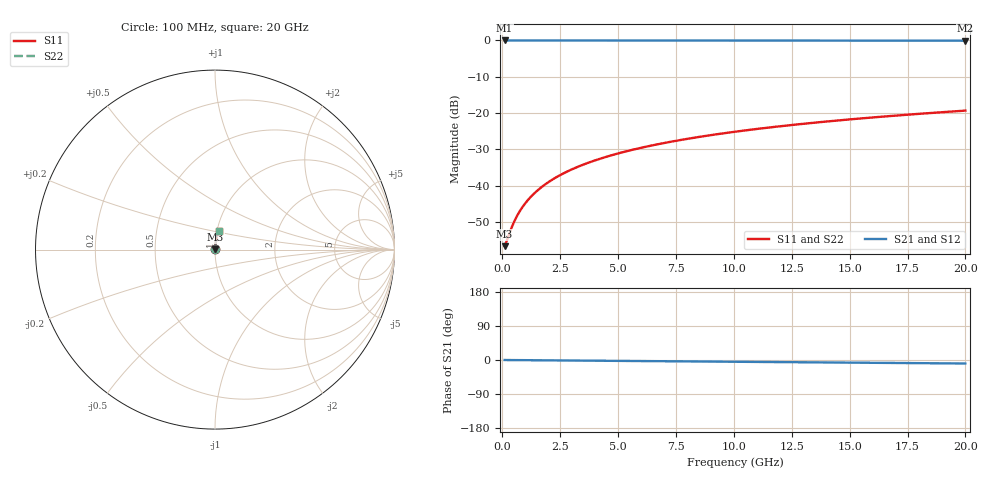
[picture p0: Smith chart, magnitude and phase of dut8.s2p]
! Touchstone file exported from HFSS 2026.1.0
!  File:  C:/ffzhzh/LocalFiles/Ansys_Project_Files/temp_val_TSV_8_1782974866_15332.aedt
!  Generated:  02:50:01 PM Jul  2, 2026
!  Design:  TSV
!  Project:  temp_val_TSV_8_1782974866_15332
! Variables:
!  h_bsmrdl = 2um
!  h_ox = 20um
!  h_rdl = 5um
!  h_sub = 64.76um
!  h_tmrdl = 5um
!  h_tsv = 64.76um
!  h_via = 3um
!  l_bsmrdl = 300um
!  l_sub = 404.72um
!  l_tmrdl = 200um
!  m_sub = 200um
!  pitch = 39.39um
!  r_tsv = 2.36um
!  s_tmrdl = 10um
!  w_bsmrdl = 18um
!  w_sub = 500um
!  w_tmrdl = 12um
!  x_tsv_center1 = 206um
!  x_tsv_center2 = 524um
!  x_tsv_center3 = 736um
!  x_tsv_center4 = 1054um
!  x_tsv_center5 = 1266um
!  x_tsv_center6 = 1584um
# GHz S MA R 50.000000
! Terminal data exported
! Port[1] = TSV1_1_T1
! Port[2] = TSV1_1_T2
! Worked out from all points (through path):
!   200 points, 100 MHz to 20 GHz, reference 50 ohm
!   highest |S21| = -0.01 dB at 100 MHz (marker M1); lowest = -0.1 dB at 20 GHz (marker M2)
!   group delay of S21, straight-line fit = 1.28 ps
!   lowest |S11| = -56.7 dB at 100 MHz (marker M3), VSWR 1.00, Z = 50.1 + j0.0565 ohm
!   |S11| at or under -10 dB: start of sweep to end of sweep
!   |S22| runs from -56.7 to -19.3 dB; largest |S21 - S12| = 3.2e-15
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0.1  0.001467 22.6  0.9986 -0.0  0.9986 -0.0  0.001467 22.6
! Gamma 0 0 0 0
! Port Impedance 50 0 50 0
0.2  0.001765 39.6  0.9986 -0.1  0.9986 -0.1  0.001765 39.6
0.4  0.002633 58.5  0.9986 -0.2  0.9986 -0.2  0.002633 58.5
0.5  0.003126 63.7  0.9986 -0.2  0.9986 -0.2  0.003126 63.7
0.6  0.003637 67.4  0.9986 -0.3  0.9986 -0.3  0.003637 67.4
0.7  0.004158 70.2  0.9986 -0.3  0.9986 -0.3  0.004158 70.2
0.9  0.005221 74.0  0.9986 -0.4  0.9986 -0.4  0.005221 74.0
1.1  0.006299 76.6  0.9986 -0.5  0.9986 -0.5  0.006299 76.6
1.3  0.007385 78.3  0.9986 -0.6  0.9986 -0.6  0.007385 78.3
1.7  0.009573 80.6  0.9985 -0.8  0.9985 -0.8  0.009573 80.6
2.2  0.01232 82.2  0.9985 -1.0  0.9985 -1.0  0.01232 82.2
2.8  0.01563 83.2  0.9984 -1.3  0.9984 -1.3  0.01563 83.2
3.5  0.01949 83.8  0.9983 -1.6  0.9983 -1.6  0.01949 83.8
4.2  0.02335 84.1  0.9981 -2.0  0.9981 -2.0  0.02335 84.1
5  0.02775 84.2  0.998 -2.3  0.998 -2.3  0.02775 84.2
5.9  0.03269 84.2  0.9977 -2.8  0.9977 -2.8  0.03269 84.2
6.8  0.03762 84.0  0.9974 -3.2  0.9974 -3.2  0.03762 84.0
8.3  0.04579 83.6  0.9969 -3.9  0.9969 -3.9  0.04579 83.6
10.1  0.05553 83.0  0.9962 -4.7  0.9962 -4.7  0.05553 83.0
13.4  0.07321 81.7  0.9947 -6.2  0.9947 -6.2  0.07321 81.7
16.7  0.09067 80.3  0.9928 -7.7  0.9928 -7.7  0.09067 80.3
20  0.1079 79.0  0.9908 -9.2  0.9908 -9.2  0.1079 79.0
